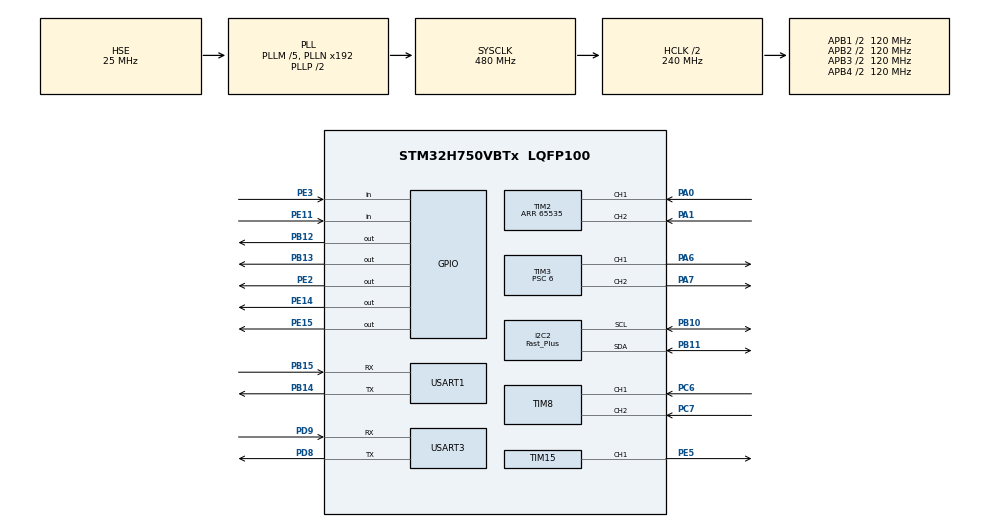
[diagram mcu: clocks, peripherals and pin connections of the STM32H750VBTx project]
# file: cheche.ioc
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CORTEX_M7.default_mode_Activation=1
I2C2.I2C_Speed_Mode=I2C_Fast_Plus
I2C2.Timing=0x0050174F
Mcu.Family=STM32H7
Mcu.Name=STM32H750VBTx
Mcu.Package=LQFP100
NVIC.PriorityGroup=NVIC_PRIORITYGROUP_4
NVIC.TIM2_IRQn=true\:0\:0\:false\:false\:true\:true\:true\:true
NVIC.TIM4_IRQn=true\:0\:0\:false\:false\:true\:true\:true\:true
NVIC.TIM8_BRK_TIM12_IRQn=true\:0\:0\:false\:false\:true\:true\:true\:true
NVIC.TIM8_CC_IRQn=true\:0\:0\:false\:false\:true\:true\:true\:true
NVIC.TIM8_TRG_COM_TIM14_IRQn=true\:0\:0\:false\:false\:true\:true\:true\:true
NVIC.TIM8_UP_TIM13_IRQn=true\:0\:0\:false\:false\:true\:true\:true\:true
NVIC.USART1_IRQn=true\:0\:0\:false\:false\:true\:false\:true\:true
NVIC.USART3_IRQn=true\:0\:0\:false\:false\:true\:true\:true\:true
PA0.GPIO_PuPd=GPIO_PULLDOWN
PA0.GPIO_Speed=GPIO_SPEED_FREQ_HIGH
PA0.Signal=S_TIM2_CH1_ETR
PA1.GPIO_PuPd=GPIO_PULLDOWN
PA1.GPIO_Speed=GPIO_SPEED_FREQ_HIGH
PA1.Signal=S_TIM2_CH2
PA6.Signal=S_TIM3_CH1
PA7.Signal=S_TIM3_CH2
PB10.Mode=I2C
PB10.Signal=I2C2_SCL
PB11.Mode=I2C
PB11.Signal=I2C2_SDA
PB12.Signal=GPIO_Output
PB13.Signal=GPIO_Output
PB14.Mode=Asynchronous
PB14.Signal=USART1_TX
PB15.Mode=Asynchronous
PB15.Signal=USART1_RX
PC6.Signal=S_TIM8_CH1
PC7.Signal=S_TIM8_CH2
PD8.Mode=Asynchronous
PD8.Signal=USART3_TX
PD9.Mode=Asynchronous
PD9.Signal=USART3_RX
PE11.GPIO_PuPd=GPIO_PULLUP
PE11.Signal=GPIO_Input
PE14.Signal=GPIO_Output
PE15.Signal=GPIO_Output
PE2.Signal=GPIO_Output
PE3.GPIO_PuPd=GPIO_PULLDOWN
PE3.Signal=GPIO_Input
PE5.Signal=S_TIM15_CH1
PH0-OSC_IN\ (PH0).Mode=HSE-External-Oscillator
PH0-OSC_IN\ (PH0).Signal=RCC_OSC_IN
PH1-OSC_OUT\ (PH1).Mode=HSE-External-Oscillator
PH1-OSC_OUT\ (PH1).Signal=RCC_OSC_OUT
ProjectManager.HeapSize=0x200
ProjectManager.StackSize=0x400
ProjectManager.TargetToolchain=MDK-ARM V5.32
RCC.ADCFreq_Value=50390625
RCC.APB1Freq_Value=120000000
RCC.APB2Freq_Value=120000000
RCC.APB3Freq_Value=120000000
RCC.APB4Freq_Value=120000000
RCC.CortexFreq_Value=480000000
RCC.D1PPRE=RCC_APB3_DIV2
RCC.D2PPRE1=RCC_APB1_DIV2
RCC.D2PPRE2=RCC_APB2_DIV2
RCC.D3PPRE=RCC_APB4_DIV2
RCC.DIVM1=5
RCC.DIVN1=192
RCC.HCLKFreq_Value=240000000
RCC.HPRE=RCC_HCLK_DIV2
RCC.PLL2FRACN=0
RCC.PLL3FRACN=0
RCC.PLLFRACN=0
RCC.PLLSourceVirtual=RCC_PLLSOURCE_HSE
RCC.SYSCLKFreq_VALUE=480000000
RCC.SYSCLKSource=RCC_SYSCLKSOURCE_PLLCLK
RCC.USBFreq_Value=480000000
SH.S_TIM15_CH1.0=TIM15_CH1,PWM Generation1 CH1
SH.S_TIM2_CH1_ETR.0=TIM2_CH1,Encoder_Interface
SH.S_TIM2_CH2.0=TIM2_CH2,Encoder_Interface
SH.S_TIM3_CH1.0=TIM3_CH1,PWM Generation1 CH1
SH.S_TIM3_CH2.0=TIM3_CH2,PWM Generation2 CH2
SH.S_TIM8_CH1.0=TIM8_CH1,Encoder_Interface
SH.S_TIM8_CH2.0=TIM8_CH2,Encoder_Interface
TIM15.Channel-PWM\ Generation1\ CH1=TIM_CHANNEL_1
TIM15.Period=999
TIM15.Prescaler=2399
TIM2.AutoReloadPreload=TIM_AUTORELOAD_PRELOAD_ENABLE
TIM2.EncoderMode=TIM_ENCODERMODE_TI12
TIM2.Period=65535
TIM3.Channel-PWM\ Generation1\ CH1=TIM_CHANNEL_1
TIM3.Channel-PWM\ Generation2\ CH2=TIM_CHANNEL_2
TIM3.Period=9999
TIM3.Prescaler=6
TIM4.AutoReloadPreload=TIM_AUTORELOAD_PRELOAD_ENABLE
TIM4.Period=9999
TIM4.Prescaler=479
TIM8.AutoReloadPreload=TIM_AUTORELOAD_PRELOAD_ENABLE
TIM8.EncoderMode=TIM_ENCODERMODE_TI12
USART1.VirtualMode-Asynchronous=VM_ASYNC
USART3.VirtualMode-Asynchronous=VM_ASYNC
VP_TIM15_VS_ClockSourceINT.Mode=Internal
VP_TIM4_VS_ClockSourceINT.Mode=Internal
board=custom

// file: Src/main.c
/* USER CODE BEGIN Header */
/**
 ******************************************************************************
 * @file           : main.c
 * @brief          : Main program body
 ******************************************************************************
 * @attention
 *
 * Copyright (c) 2024 STMicroelectronics.
 * All rights reserved.
 *
 * This software is licensed under terms that can be found in the LICENSE file
 * in the root directory of this software component.
 * If no LICENSE file comes with this software, it is provided AS-IS.
 *
 ******************************************************************************
 */
/* USER CODE END Header */
#include "main.h"
#include "i2c.h"
#include "tim.h"
#include "usart.h"
#include "gpio.h"

/* USER CODE BEGIN Includes */
#include "OLED.h"
#include "motor.h"
#include "control.h"
#include "uart_it.h"
/* USER CODE END Includes */

/* USER CODE BEGIN PTD */
uint8_t angle=150;   //90  120

uint8_t state = 0;   //串口状�??

uint8_t Date[10] = {0}; //接收数组

uint8_t state1 = 0;   //串口状�??

uint8_t Date1[20] = {0}; //接收数组

uint16_t shuliang = 0;   //数字个数

int number[4] = {0};

uint8_t tick = 0;
int ticks =0;
int ticksss=0;
int color =0; //当前胶带颜色

uint8_t rx_v831[6]={0};
uint8_t jiaoyan;
uint8_t num_A=1,num_B=2;
uint8_t rx_n_num=0;
uint8_t sig_num=0;
int CNT = 0;
uint8_t m = 0;

uint8_t fangjian_zhong[2]={0};
uint8_t fangjianA[2]={0};
uint8_t fangjianB[2]={0};
uint8_t fangjianA_AB[2]={0};
uint8_t fangjianB_AB[2]={0};
int chakou=0,fchakou=0;
uint8_t ji=1;
uint8_t T_num=0;

int CNT1 = 0;
int CNT2 =0;

uint64_t st=0,ff_s=0,f_st=0;
uint8_t zhuangtai=1;//1��ȡ 0�ǻ�
char zhuanwan[4]={0};
int ttttt=0;
int statue = 0; //车的行进阶段 0：前往 1：返回
int vvvvvvvv = 0;
char direction = 1;  //运动状态  0：正常行进 1：停止 ‘L’：左转90度，然后正常行进 ‘R’ 3:位置环pid：
/* USER CODE END PTD */

/* USER CODE BEGIN PD */
void sort(int b[],int a[],int len)
{
	int temp[2];
	for(int i=0;i<len-1;i++)
	{
		for(int n=i+1;n<len;n++)
		{
			temp[0] = a[i];
			temp[1] = b[i];
			if(a[n]<a[i])
			{
				b[i] = b[n];
				b[n]= temp[1];
				a[i] = a[n];
				a[n] = temp[0];
			}
		}
	}
}

/* USER CODE END PD */

void SystemClock_Config(void);
static void MPU_Config(void);

int main(void)
{

  /* MPU Configuration--------------------------------------------------------*/
  MPU_Config();

  /* MCU Configuration--------------------------------------------------------*/

  /* Reset of all peripherals, Initializes the Flash interface and the Systick. */
  HAL_Init();

  /* Configure the system clock */
  SystemClock_Config();

  /* Initialize all configured peripherals */
  MX_GPIO_Init();
  MX_USART1_UART_Init();
  MX_I2C2_Init();
  MX_TIM2_Init();
  MX_TIM8_Init();
  MX_TIM3_Init();
  MX_TIM4_Init();
  MX_USART3_UART_Init();
  MX_TIM15_Init();
  /* USER CODE BEGIN 2 */
  OLED_Init();
  OLED_FullyClear();
  motor_init();
	int i=0;

	int fork = 0; //第几个岔口
	int ex_fork =0; //期望岔口
	int ex_room =0;  //期望房间，1：左，2：右

	int v = 0;
	int vv = 0;
	int vvv=0;
	int vvvv = HAL_GetTick();
	int vvvvv = HAL_GetTick();
	int vvvvvv = HAL_GetTick();
	int vvvvvvv = HAL_GetTick();
	int vvvvvvvv = 0;
	char dir;
	int num_shu[4] = {0};

	for(i=0;i<10;i++)
	{
  uart_it_init(&huart1,1);
	uart_it_init(&huart3,1);
	HAL_Delay(10);
	}
	__HAL_TIM_SetCompare(&htim15,TIM_CHANNEL_1,angle+50);
	HAL_TIM_PWM_Start(&htim15,TIM_CHANNEL_1);
  // dianjiA(1000);
  // dianjiB(1500);

//	while(1)
//	{
//		direction = 3;
//		get_T_distence(15000+65535,16700+65535);
//		OLED_ShowStr1(0,1,TIM2->CNT, 6, 16);
//		OLED_ShowStr1(0,3,TIM8->CNT, 6, 16);
//
//	}
  /* USER CODE END 2 */

  /* Infinite loop */
  /* USER CODE BEGIN WHILE */
  while (1)
  {
    if (state == 1)    //串口1接收完毕,等待处理
    {
      width =Date[0];
      now = Date[1];
			color = Date[2];
      state = 0;
    }										//
		if(state1 == 1)    //串口3接收完毕,等待处理
    {
			shuliang = Date1[0]; //数字个数
			if(shuliang == 1)
			{
				number[0]  = Date1[1];
				number[1] = 0;
				number[2] = 0;
				number[3] = 0;
			}
//			else if(shuliang == 2)
//			{
//				if((Date1[2]<<8)+Date1[3] <(Date1[5]<<8)+Date1[6]) //如果1号数字x小于2号数字
//				{
//					number[0]  = Date1[1];
//					number[1]  = Date1[4];
//				}
//				else
//				{
//					number[0]  = Date1[4];
//					number[1]  = Date1[1];
//				}
//
//
//			}
			else if(shuliang >1)  //数字数量大于1
			{
				for(int i =0;i<shuliang;i++)                //依次储存各数字与各数字坐标
				{
					num_shu[i] = (Date1[2+i*3]<<8) + Date1[3+i*3];
					number[i] = Date1[1+i*3];
				}
				sort(number,num_shu,shuliang);               //根据数字坐标排序数字
				for(int i = 0;i<4-shuliang;i++)
				{
					number[3-i] = 0;                        //清空未赋值数字
				}

			}

			else
			{
				number[0] = 0;
				number[1] = 0;
				number[2] = 0;
				number[3] = 0;
			}
      state1 = 0;

    }										//

		while(HAL_GPIO_ReadPin(GPIOE,GPIO_PIN_11)==0) //按键检测
		{
			T_num=number[0];
		}                                            //

		if(HAL_GPIO_ReadPin(GPIOE,GPIO_PIN_3)==0)			//红外检测
		{
			if(HAL_GetTick()-ff_s>1000&&vv==0)
			{
				vv=1;
					direction = 0;																///判定成功
			}
		}
		else
		{
			ff_s=HAL_GetTick();
		}																					//

    /* USER CODE END WHILE */

    /* USER CODE BEGIN 3 */
		if(T_num ==1)
		{
			ex_fork = 1;
			ex_room =1;
		}
		if(T_num ==2)
		{
			ex_fork =1;
			ex_room =2;
		}

		if(shuliang!=0&&statue == 0&&direction == 0&&T_num !=1&&T_num !=2&&(vvvvv-HAL_GetTick())>2000)  //如果数字数量不为0  且为前往状态
		{
			vvvvv = HAL_GetTick();
			if(shuliang <=2)
			{
				if(number[0] == T_num)
				{
						ex_fork=fork +1;  //期望岔口为下一个
						ex_room=1;
				}
				else if(number[1] == T_num)
				{
						ex_fork=fork +1;  //期望岔口为下一个
						ex_room=2;
				}
			}
			else if(shuliang>2)
			{
				if((number[0] == T_num)||(number[1] == T_num))
				{
						ex_fork=fork +1;  //期望岔口为下一个
						ex_room=1;
				}
				else if((number[2] == T_num)||(number[3] == T_num))
				{
						ex_fork=fork +1;  //期望岔口为下一个
						ex_room=2;
				}
			}

			direction = 0;
//			direction = 1;  //先停下来
//				Tv_A = 0;
//        Tv_B = 0;
//			HAL_Delay(1000);
//			if(number[0] == T_num)  //左边数字
//			{
//				ex_fork++;  //期望岔口为下一个
//				ex_room=1;
//			}
//			else
//			{
//				__HAL_TIM_SetCompare(&htim15,TIM_CHANNEL_1,140); //转到另一边
//				HAL_Delay(1000);
//				if(Date1[1] ==T_num)
//				{
//					ex_fork++;  //期望岔口为下一个
//					ex_room=2;
//				}
//
//
//			}
		}

		if(width >60&&statue == 0&&color ==0)		//如果前往过程到达岔口
		{

			if((HAL_GetTick()-vvvv)>1000)
			{
				vvvv =HAL_GetTick();

				fork++;        ///当前岔口加一
			}

			if(fork == ex_fork)  ///如果是期望岔口
			{
				CNT1 = z_A;
				CNT2 = z_B;
				if(ex_room ==1)
				{
					direction = 'L';
				}
				if(ex_room == 2)
				{
					direction = 'R';
				}
			}
			if(fork == 3&&vvvvvvvv ==0)
			{
				vvvvvvvv = 1;
				dir = direction;
			}
		}									//

		if(width >60&&statue == 1&&color ==0&&(HAL_GetTick() - vvvvvv)>2000)   //如果返回过程到达岔口
		{
			vvvvvv = HAL_GetTick();
			if(ex_fork==3&&ex_fork==4||fork==ex_fork||fork == 3)
			{

				CNT1 = z_A;
				CNT2 = z_B;
					Tv_A = 0;
					Tv_B = 0;
					HAL_Delay(500);
				if(fork == 3)
				{
					if(dir == 'R')
					{
						direction = 'L';
					}
					else if(dir == 'L')
					{
						direction = 'R';
					}
				}
				if(ex_room ==1&&fork!=3)
				{
					direction = 'L';
				}
				if(ex_room == 2&&fork!=3)
				{
					direction = 'R';
				}
			}

			fork--;

		}

		if(color == 1&&(HAL_GetTick()-vvvvvvv)>2000)  //如果到达终点
		{
				CNT1 = z_A;
				CNT2 = z_B;
			get_T_distence(CNT1,CNT2);
			direction =3;

			if((HAL_GPIO_ReadPin(GPIOE,GPIO_PIN_3)!=0)&& statue == 0 ) //如果拿开药
			{
				vvvvvvv = HAL_GetTick();
				statue = 1;  //返回状态
				direction = 2;  //倒退
			}

		}               //

		OLED_ShowStr1(0, 1,number[0], 1, 16);
		OLED_ShowStr1(20, 1,number[1], 1, 16);
		OLED_ShowStr1(40, 1,number[2], 1, 16);
		OLED_ShowStr1(60, 1,number[3], 1, 16);
		OLED_ShowStr1(0, 5, width, 4, 16);

		OLED_ShowStr1(0, 3, fork, 4, 16);

  }
  /* USER CODE END 3 */
}

void SystemClock_Config(void)
{
  RCC_OscInitTypeDef RCC_OscInitStruct = {0};
  RCC_ClkInitTypeDef RCC_ClkInitStruct = {0};

  /** Supply configuration update enable
  */
  HAL_PWREx_ConfigSupply(PWR_LDO_SUPPLY);

  /** Configure the main internal regulator output voltage
  */
  __HAL_PWR_VOLTAGESCALING_CONFIG(PWR_REGULATOR_VOLTAGE_SCALE1);

  while(!__HAL_PWR_GET_FLAG(PWR_FLAG_VOSRDY)) {}

  __HAL_RCC_SYSCFG_CLK_ENABLE();
  __HAL_PWR_VOLTAGESCALING_CONFIG(PWR_REGULATOR_VOLTAGE_SCALE0);

  while(!__HAL_PWR_GET_FLAG(PWR_FLAG_VOSRDY)) {}

  /** Initializes the RCC Oscillators according to the specified parameters
  * in the RCC_OscInitTypeDef structure.
  */
  RCC_OscInitStruct.OscillatorType = RCC_OSCILLATORTYPE_HSE;
  RCC_OscInitStruct.HSEState = RCC_HSE_ON;
  RCC_OscInitStruct.PLL.PLLState = RCC_PLL_ON;
  RCC_OscInitStruct.PLL.PLLSource = RCC_PLLSOURCE_HSE;
  RCC_OscInitStruct.PLL.PLLM = 5;
  RCC_OscInitStruct.PLL.PLLN = 192;
  RCC_OscInitStruct.PLL.PLLP = 2;
  RCC_OscInitStruct.PLL.PLLQ = 2;
  RCC_OscInitStruct.PLL.PLLR = 2;
  RCC_OscInitStruct.PLL.PLLRGE = RCC_PLL1VCIRANGE_2;
  RCC_OscInitStruct.PLL.PLLVCOSEL = RCC_PLL1VCOWIDE;
  RCC_OscInitStruct.PLL.PLLFRACN = 0;
  if (HAL_RCC_OscConfig(&RCC_OscInitStruct) != HAL_OK)
  {
    Error_Handler();
  }

  /** Initializes the CPU, AHB and APB buses clocks
  */
  RCC_ClkInitStruct.ClockType = RCC_CLOCKTYPE_HCLK|RCC_CLOCKTYPE_SYSCLK
                              |RCC_CLOCKTYPE_PCLK1|RCC_CLOCKTYPE_PCLK2
                              |RCC_CLOCKTYPE_D3PCLK1|RCC_CLOCKTYPE_D1PCLK1;
  RCC_ClkInitStruct.SYSCLKSource = RCC_SYSCLKSOURCE_PLLCLK;
  RCC_ClkInitStruct.SYSCLKDivider = RCC_SYSCLK_DIV1;
  RCC_ClkInitStruct.AHBCLKDivider = RCC_HCLK_DIV2;
  RCC_ClkInitStruct.APB3CLKDivider = RCC_APB3_DIV2;
  RCC_ClkInitStruct.APB1CLKDivider = RCC_APB1_DIV2;
  RCC_ClkInitStruct.APB2CLKDivider = RCC_APB2_DIV2;
  RCC_ClkInitStruct.APB4CLKDivider = RCC_APB4_DIV2;

  if (HAL_RCC_ClockConfig(&RCC_ClkInitStruct, FLASH_LATENCY_4) != HAL_OK)
  {
    Error_Handler();
  }
}

/* USER CODE BEGIN 4 */
void HAL_UART_RxCpltCallback(UART_HandleTypeDef *huart)
{

  if(huart == &huart1)
  {
		uart_it_receive(&huart1,Date,&state);
  }

	else if(huart == &huart3)
  {
		uart_it_receive1(&huart3,Date1,&state1);
  }
}

void HAL_TIM_PeriodElapsedCallback(TIM_HandleTypeDef *htim)
{

  if (htim == &htim2)
  {
    ceh_A++;   //tim1计数溢出
  }

  if (htim == &htim8)
  {
    ceh_B++;  //tim8计数溢出
  }

  if (htim == &htim4)
  {

    motor_handle();   //速度pid控制

    if (tick == 5)
    {
      if (direction == 0)
      {

					line_pid(100, &Tv_A, &Tv_B);
      }

			else if(direction ==1)
			{
				Tv_A = 0;
        Tv_B = 0;

			}
			else if(direction ==2)
			{
				Tv_A = -40;
        Tv_B = -40;
			}
			else if(direction ==3)
			{
				distence_A_pid();
				distence_B_pid();

			}
			else
      {

				if(vvvvvvvv == 0)
				{
					ticks = HAL_GetTick();
					ticksss=HAL_GetTick();
					vvvvvvvv = 1;
				}
//
//				if(color != 0&&m==0&&(HAL_GetTick()-ticks)>800)
//				{
//					m=1;
//				}

//				if(m==1&&color==0)
//				{
//					m=2;
//				}
//				if(m == 0)
//				{

//					m=1;
//					if(direction == 'R')
//					{
//						CNT = z_A;
//					}
//					else if(direction == 'L')
//					{
//						CNT = z_B;
//					}
//
//				}

				//turn(direction);    //转向
				if(direction == 'R')
				{
					get_T_distence(CNT1+2050,CNT2+300);
					if((HAL_GetTick()-ticks)>2000)
					{
//						vvvvvvvv = 0;
//	          direction = 0;
//            m = 0;
						Tv_A = 50;
						Tv_B = 50;

						if((HAL_GetTick()-ticksss)>2500)
						{
						vvvvvvvv =0;
	          direction = 0;
            m = 0;
						}
					}

				}
				else if(direction == 'L')
				{
					get_T_distence(CNT1+300,CNT2+2050);
					if((HAL_GetTick()-ticks)>2000)
					{

						Tv_A = 50;
						Tv_B = 50;

						if((HAL_GetTick()-ticksss)>2500)
						{
						vvvvvvvv =0;
	          direction = 0;
            m = 0;
						}
					}

				}

				distence_A_pid();
				distence_B_pid();

//        if(m==2)      //转向时间
//        {
//					vvvvvvvv =0;
//          direction = 0;
//          m = 0;
//        }

      }
    }
    else
    {
      tick++;
    }
  }
}

/* USER CODE END 4 */

 /* MPU Configuration */

void MPU_Config(void)
{
  MPU_Region_InitTypeDef MPU_InitStruct = {0};

  /* Disables the MPU */
  HAL_MPU_Disable();

  /** Initializes and configures the Region and the memory to be protected
  */
  MPU_InitStruct.Enable = MPU_REGION_ENABLE;
  MPU_InitStruct.Number = MPU_REGION_NUMBER0;
  MPU_InitStruct.BaseAddress = 0x0;
  MPU_InitStruct.Size = MPU_REGION_SIZE_4GB;
  MPU_InitStruct.SubRegionDisable = 0x87;
  MPU_InitStruct.TypeExtField = MPU_TEX_LEVEL0;
  MPU_InitStruct.AccessPermission = MPU_REGION_NO_ACCESS;
  MPU_InitStruct.DisableExec = MPU_INSTRUCTION_ACCESS_DISABLE;
  MPU_InitStruct.IsShareable = MPU_ACCESS_SHAREABLE;
  MPU_InitStruct.IsCacheable = MPU_ACCESS_NOT_CACHEABLE;
  MPU_InitStruct.IsBufferable = MPU_ACCESS_NOT_BUFFERABLE;

  HAL_MPU_ConfigRegion(&MPU_InitStruct);
  /* Enables the MPU */
  HAL_MPU_Enable(MPU_PRIVILEGED_DEFAULT);

}

void Error_Handler(void)
{
  __disable_irq();
  while (1)
  {
  }
}
